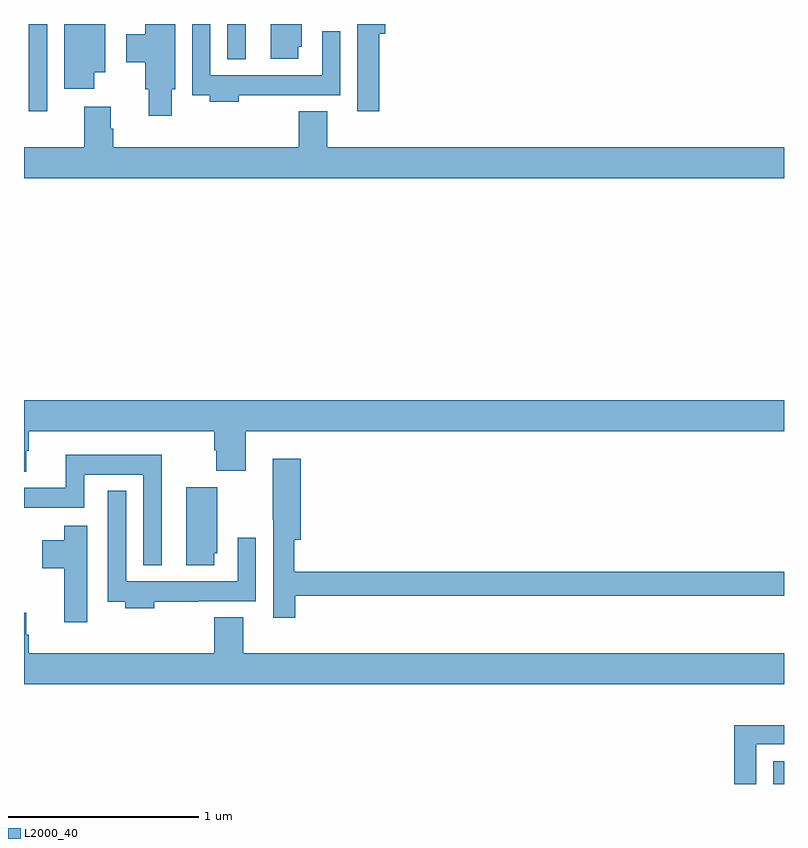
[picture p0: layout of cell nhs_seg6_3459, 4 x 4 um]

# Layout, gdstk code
import gdstk
lib = gdstk.Library(unit=1e-6, precision=1e-09)
def R(c, l, rs):  # rectangles x0, y0, x1, y1
    for r in rs: c.add(gdstk.rectangle(r[:2], r[2:], *l))
def P(c, l, *ps):  # polygons
    for p in ps: c.add(gdstk.Polygon(p, *l))
L2000_40 = (2000, 40)

nhs_seg6_3459 = lib.new_cell('nhs_seg6_3459')
R(nhs_seg6_3459, L2000_40, [(318.944,925.5,319,925.621), (315.026,929.04,315.123,929.5), (316.071,929.315,316.168,929.5)])
P(nhs_seg6_3459, L2000_40, [(315.778,929.157),(315.796,929.157),(315.796,929.5),(315.638,929.5),(315.638,929.446),(315.539,929.446),(315.539,929.299),(315.638,929.299),(315.638,929.157),(315.656,929.157),(315.656,929.016),(315.778,929.016)],
  [(316.444,929.379),(316.462,929.379),(316.462,929.5),(316.298,929.5),(316.298,929.316),(316.444,929.316)],
  [(316.13,929.124),(316.361,929.124),(316.361,929.126),(316.665,929.126),(316.665,929.461),(316.569,929.461),(316.569,929.23),(315.981,929.23),(315.981,929.5),(315.885,929.5),(315.885,929.124),(315.977,929.124),(315.977,929.09),(316.13,929.09)],
  [(316.871,929.45),(316.901,929.45),(316.901,929.5),(316.755,929.5),(316.755,929.04),(316.871,929.04)],
  [(315.37,929.246),(315.427,929.246),(315.427,929.5),(315.212,929.5),(315.212,929.16),(315.37,929.16)],
  [(319,928.852),(316.597,928.852),(316.597,929.041),(316.445,929.041),(316.445,928.852),(315.47,928.852),(315.47,928.95),(315.457,928.95),(315.457,929.065),(315.317,929.065),(315.317,928.852),(315,928.852),(315,928.688),(319,928.688)],
  [(315.013,927.255),(315.026,927.255),(315.026,927.356),(316.001,927.356),(316.001,927.257),(316.013,927.257),(316.013,927.148),(316.166,927.148),(316.166,927.356),(319,927.356),(319,927.52),(315,927.52),(315,927.143),(315.013,927.143)],
  [(315.724,927.232),(315.221,927.232),(315.221,927.058),(315,927.058),(315,926.954),(315.318,926.954),(315.318,927.128),(315.627,927.128),(315.627,926.651),(315.724,926.651)],
  [(316.427,926.49),(319,926.49),(319,926.618),(316.423,926.618),(316.423,926.786),(316.457,926.786),(316.457,927.211),(316.31,927.211),(316.31,926.89),(316.311,926.89),(316.311,926.376),(316.427,926.376)],
  [(316,926.715),(316.018,926.715),(316.018,927.063),(315.854,927.063),(315.854,926.652),(316,926.652)],
  [(315.686,926.46),(315.917,926.46),(315.917,926.462),(316.221,926.462),(316.221,926.797),(316.125,926.797),(316.125,926.566),(315.537,926.566),(315.537,927.043),(315.441,927.043),(315.441,926.46),(315.533,926.46),(315.533,926.426),(315.686,926.426)],
  [(315.334,926.86),(315.212,926.86),(315.212,926.782),(315.095,926.782),(315.095,926.635),(315.212,926.635),(315.212,926.352),(315.334,926.352)],
  [(319,926.188),(316.153,926.188),(316.153,926.377),(316.001,926.377),(316.001,926.188),(315.026,926.188),(315.026,926.286),(315.013,926.286),(315.013,926.401),(315,926.401),(315,926.024),(319,926.024)],
  [(318.855,925.71),(319,925.71),(319,925.808),(318.739,925.808),(318.739,925.5),(318.855,925.5)])

lib.write_gds('nhs_seg6_3459.gds')
